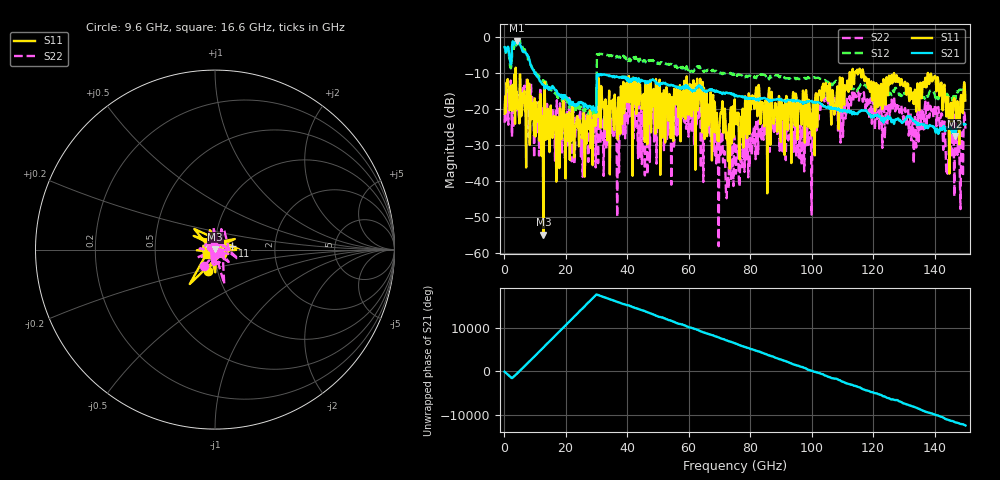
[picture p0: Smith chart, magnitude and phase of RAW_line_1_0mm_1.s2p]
!  2-Port S-parameters saved by WinCal
! VAR MeasName=S-Parameters (CALIBRATED_DATA) read from VNA (MS4647B)
! VAR MeasDate=27-Apr-22 15:06:22
! VAR NAME=RAW_line_1mm_1
! VAR FILENAME=RAW_line_1mm_1.S2P
! VAR DATE=27-Apr-22 15:06:22
! VAR PHYS_PORTS=1,2
! VAR ObjTypeName=DATASET
! VAR IndexType=Frequency
! VAR ChuckHeaterState=Unknown
! VAR ChuckTemp=NaN
! VAR ChuckTempUnits=Unknown
# Hz S RI R 50
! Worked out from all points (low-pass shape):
!   750 points, 200 MHz to 150 GHz, reference 50 ohm
!   highest |S21| = -0.94 dB at 4.2 GHz (marker M1); lowest = -27.5 dB at 146.6 GHz (marker M2)
!   |S21| within 3 dB of the highest: 685.4 MHz to 1.586 GHz (900.8 MHz wide, 79.3 % of centre); 2.538 GHz to 6.207 GHz (3.669 GHz wide, 83.9 % of centre)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
!   lowest |S11| = -55.0 dB at 12.8 GHz (marker M3), VSWR 1.00, Z = 50 + j0.177 ohm
!   |S11| at or under -10 dB: 3.838 GHz to 112.4 GHz (108.5 GHz wide, 187 % of centre); 126.8 GHz to 137.8 GHz (10.99 GHz wide, 8.3 % of centre); 137.8 GHz to end of sweep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
!   |S22| runs from -58.2 to -11.4 dB; largest |S21 - S12| = 1.7
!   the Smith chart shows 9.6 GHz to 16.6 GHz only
!   S11 on the Smith chart (normalised r, x): 9.6 GHz: 0.90, -0.22; 11 GHz: 1.21, +0.05; 16.6 GHz: 0.90, -0.06
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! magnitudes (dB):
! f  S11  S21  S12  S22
! 200 MHz  -21.3  -2.7  -2.6  -23.8
! 4.2 GHz  -15.3  -0.9  -1.5  -14.7
! 9.6 GHz  -18.2  -9.2  -9.1  -19.1
! 11 GHz  -20.1  -10.9  -10.5  -26.4
! 12.8 GHz  -55.0  -13.2  -12.0  -20.8
! 16.6 GHz  -24.6  -14.7  -15.4  -34.4
! 25.2 GHz  -24.7  -18.1  -19.9  -28.1
! 29.4 GHz  -24.5  -19.8  -21.4  -26.3
! 30.8 GHz  -11.4  -10.7  -4.9  -19.1
! 50.2 GHz  -15.4  -12.9  -7.2  -20.8
! 63.2 GHz  -18.9  -13.5  -8.5  -22.6
! 72.4 GHz  -28.4  -15.4  -9.9  -44.8
! 75.2 GHz  -23.1  -16.1  -10.4  -30.6
! 87.4 GHz  -20.4  -17.5  -10.6  -24.1
! 100.2 GHz  -27.3  -17.9  -11.1  -31.3
! 104.4 GHz  -14.9  -19.2  -11.9  -18.2
! 125.2 GHz  -10.7  -22.8  -16.0  -18.9
! 140.6 GHz  -15.0  -25.7  -16.2  -24.8
! 144.2 GHz  -16.7  -25.1  -16.0  -38.0
! 146.6 GHz  -17.5  -27.5  -17.6  -23.8
! 148.6 GHz  -16.1  -24.2  -14.6  -31.7
! 150 GHz  -17.6  -24.2  -15.0  -25.5
